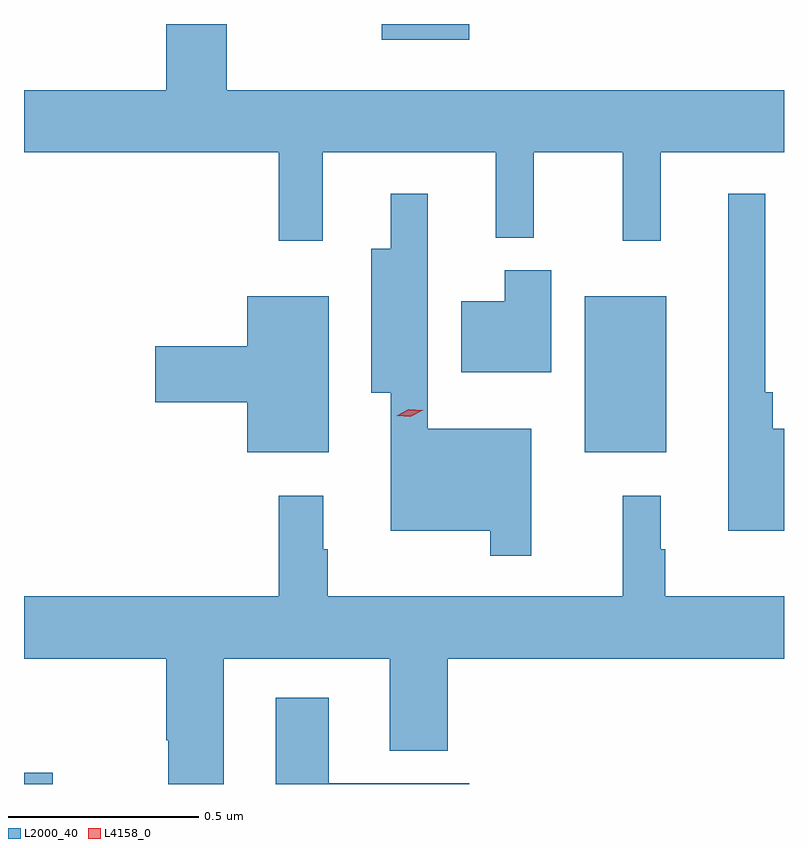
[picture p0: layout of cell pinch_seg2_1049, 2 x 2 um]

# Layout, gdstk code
import gdstk
lib = gdstk.Library(unit=1e-6, precision=1e-09)
def R(c, l, rs):  # rectangles x0, y0, x1, y1
    for r in rs: c.add(gdstk.rectangle(r[:2], r[2:], *l))
def P(c, l, *ps):  # polygons
    for p in ps: c.add(gdstk.Polygon(p, *l))
L2000_40 = (2000, 40)
L4158_0 = (4158, 0)

pinch_seg2_1049 = lib.new_cell('pinch_seg2_1049')
R(pinch_seg2_1049, L2000_40, [(333.045,607.346,333.12,607.375), (334.52,608.219,334.735,608.629), (333.987,609.305,334.217,609.346)])
P(pinch_seg2_1049, L2000_40, [(333.831,609.008),(334.286,609.008),(334.286,608.783),(334.386,608.783),(334.386,609.008),(334.621,609.008),(334.621,608.775),(334.721,608.775),(334.721,609.008),(335.045,609.008),(335.045,609.172),(333.579,609.172),(333.579,609.346),(333.419,609.346),(333.419,609.172),(333.045,609.172),(333.045,609.008),(333.715,609.008),(333.715,608.775),(333.831,608.775)],
  [(334.38,608.281),(334.108,608.281),(334.108,608.613),(334.107,608.613),(334.107,608.899),(334.01,608.899),(334.01,608.755),(333.959,608.755),(333.959,608.375),(334.01,608.375),(334.01,608.012),(334.272,608.012),(334.272,607.947),(334.38,607.947)],
  [(335.045,608.281),(335.015,608.281),(335.015,608.377),(334.995,608.377),(334.995,608.899),(334.898,608.899),(334.898,608.012),(335.045,608.012)],
  [(334.432,608.698),(334.31,608.698),(334.31,608.617),(334.196,608.617),(334.196,608.429),(334.432,608.429)],
  [(333.847,608.629),(333.632,608.629),(333.632,608.498),(333.39,608.498),(333.39,608.351),(333.632,608.351),(333.632,608.219),(333.847,608.219)],
  [(334.007,607.433),(334.16,607.433),(334.16,607.676),(335.045,607.676),(335.045,607.84),(334.732,607.84),(334.732,607.964),(334.72,607.964),(334.72,608.104),(334.621,608.104),(334.621,607.84),(333.844,607.84),(333.844,607.964),(333.832,607.964),(333.832,608.104),(333.715,608.104),(333.715,607.84),(333.045,607.84),(333.045,607.676),(333.419,607.676),(333.419,607.461),(333.424,607.461),(333.424,607.346),(333.571,607.346),(333.571,607.676),(334.007,607.676)],
  [(334.217,607.348),(333.847,607.348),(333.847,607.573),(333.707,607.573),(333.707,607.346),(334.217,607.346)])
P(pinch_seg2_1049, L4158_0, [(334.062,608.312),(334.026,608.315),(334.026,608.315),(334.026,608.315),(334.058,608.332),(334.094,608.329),(334.095,608.329),(334.094,608.329)])

lib.write_gds('pinch_seg2_1049.gds')
